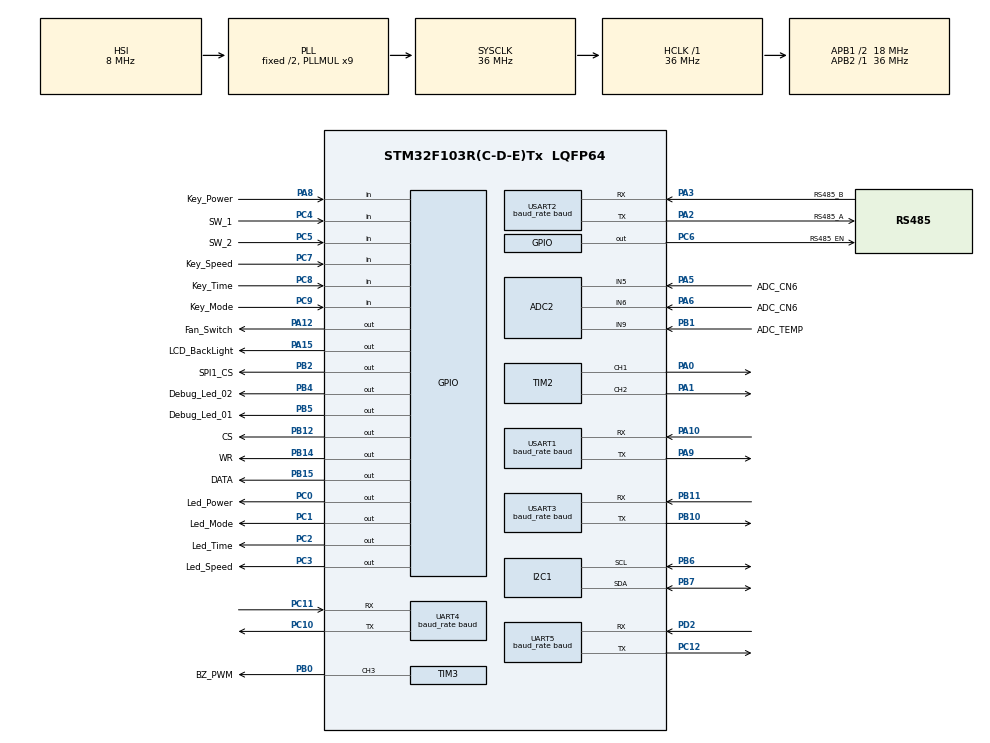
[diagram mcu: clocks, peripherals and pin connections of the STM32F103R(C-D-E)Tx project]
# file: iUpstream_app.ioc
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ADC2.Channel-1\#ChannelRegularConversion=ADC_CHANNEL_5
ADC2.NbrOfConversionFlag=1
ADC2.Rank-1\#ChannelRegularConversion=1
ADC2.SamplingTime-1\#ChannelRegularConversion=ADC_SAMPLETIME_1CYCLE_5
Dma.Request0=USART3_RX
Dma.Request1=UART4_RX
Dma.UART4_RX.1.Direction=DMA_PERIPH_TO_MEMORY
Dma.UART4_RX.1.Instance=DMA2_Channel3
Dma.UART4_RX.1.MemDataAlignment=DMA_MDATAALIGN_BYTE
Dma.UART4_RX.1.MemInc=DMA_MINC_ENABLE
Dma.UART4_RX.1.Mode=DMA_NORMAL
Dma.UART4_RX.1.PeriphDataAlignment=DMA_PDATAALIGN_BYTE
Dma.UART4_RX.1.PeriphInc=DMA_PINC_DISABLE
Dma.UART4_RX.1.Priority=DMA_PRIORITY_LOW
Dma.USART3_RX.0.Direction=DMA_PERIPH_TO_MEMORY
Dma.USART3_RX.0.Instance=DMA1_Channel3
Dma.USART3_RX.0.MemDataAlignment=DMA_MDATAALIGN_BYTE
Dma.USART3_RX.0.MemInc=DMA_MINC_ENABLE
Dma.USART3_RX.0.Mode=DMA_NORMAL
Dma.USART3_RX.0.PeriphDataAlignment=DMA_PDATAALIGN_BYTE
Dma.USART3_RX.0.PeriphInc=DMA_PINC_DISABLE
Dma.USART3_RX.0.Priority=DMA_PRIORITY_LOW
FREERTOS.Tasks01=Breath_Light_Ta,0,128,Breath_Light_Handler,Default,NULL,Dynamic,NULL,NULL;Rs485_Modbus_Ta,1,128,Rs485_Modbus_Handler,Default,NULL,Dynamic,NULL,NULL;Main_Task,-1,128,Main_Handler,Default,NULL,Dynamic,NULL,NULL;Key_Button_Task,-3,128,Key_Button_Handler,Default,NULL,Dynamic,NULL,NULL;Motor_Task,-3,128,Motor_Handler,Default,NULL,Dynamic,NULL,NULL;wifi_module,-3,128,wifi_module_Handler,Default,NULL,Dynamic,NULL,NULL
FREERTOS.configMAX_PRIORITIES=5
FREERTOS.configMINIMAL_STACK_SIZE=128
FREERTOS.configTOTAL_HEAP_SIZE=4096
FREERTOS.configUSE_TICK_HOOK=1
IWDG.Prescaler=IWDG_PRESCALER_16
Mcu.Family=STM32F1
Mcu.Name=STM32F103R(C-D-E)Tx
Mcu.Package=LQFP64
NVIC.DMA1_Channel3_IRQn=true\:5\:0\:false\:false\:true\:true\:false\:true\:true
NVIC.DMA2_Channel3_IRQn=true\:5\:0\:false\:false\:true\:true\:false\:true\:true
NVIC.PriorityGroup=NVIC_PRIORITYGROUP_4
NVIC.TIM1_UP_IRQn=true\:15\:0\:true\:false\:true\:false\:false\:true\:true
NVIC.TIM4_IRQn=true\:5\:0\:false\:false\:true\:true\:true\:true\:true
NVIC.TIM5_IRQn=true\:5\:0\:false\:false\:true\:true\:true\:true\:true
NVIC.TIM6_IRQn=true\:5\:0\:false\:false\:true\:true\:true\:true\:true
NVIC.TimeBase=TIM1_UP_IRQn
NVIC.TimeBaseIP=TIM1
NVIC.UART4_IRQn=true\:6\:0\:true\:false\:true\:true\:true\:true\:true
NVIC.UART5_IRQn=true\:5\:0\:true\:false\:true\:true\:true\:true\:true
NVIC.USART1_IRQn=true\:6\:0\:true\:false\:true\:false\:true\:true\:true
NVIC.USART2_IRQn=true\:5\:0\:false\:false\:true\:true\:true\:true\:true
NVIC.USART3_IRQn=true\:5\:0\:false\:false\:true\:true\:true\:true\:true
PA0-WKUP.Signal=S_TIM2_CH1_ETR
PA1.Signal=S_TIM2_CH2
PA10.GPIO_PuPd=GPIO_PULLDOWN
PA10.Mode=Asynchronous
PA10.Signal=USART1_RX
PA12.GPIO_Label=Fan_Switch
PA12.Signal=GPIO_Output
PA13.Mode=Trace_Asynchronous_SW
PA13.Signal=SYS_JTMS-SWDIO
PA14.Mode=Trace_Asynchronous_SW
PA14.Signal=SYS_JTCK-SWCLK
PA15.GPIO_Label=LCD_BackLight
PA15.Signal=GPIO_Output
PA2.GPIO_Label=RS485_A
PA2.GPIO_Speed=GPIO_SPEED_FREQ_LOW
PA2.Mode=Asynchronous
PA2.Signal=USART2_TX
PA3.GPIO_Label=RS485_B
PA3.GPIO_PuPd=GPIO_PULLDOWN
PA3.Mode=Asynchronous
PA3.Signal=USART2_RX
PA5.GPIO_Label=ADC_CN6
PA5.Signal=ADCx_IN5
PA6.GPIO_Label=ADC_CN6
PA6.Signal=ADCx_IN6
PA8.GPIO_Label=Key_Power
PA8.GPIO_PuPd=GPIO_PULLUP
PA8.Signal=GPIO_Input
PA9.GPIO_Speed=GPIO_SPEED_FREQ_LOW
PA9.Mode=Asynchronous
PA9.Signal=USART1_TX
PB0.GPIO_Label=BZ_PWM
PB0.Signal=S_TIM3_CH3
PB1.GPIO_Label=ADC_TEMP
PB1.Signal=ADCx_IN9
PB10.GPIO_Speed=GPIO_SPEED_FREQ_LOW
PB10.Mode=Asynchronous
PB10.Signal=USART3_TX
PB11.GPIO_PuPd=GPIO_PULLDOWN
PB11.Mode=Asynchronous
PB11.Signal=USART3_RX
PB12.GPIO_Label=CS
PB12.Signal=GPIO_Output
PB14.GPIO_Label=WR
PB14.Signal=GPIO_Output
PB15.GPIO_Label=DATA
PB15.Signal=GPIO_Output
PB2.GPIO_Label=SPI1_CS
PB2.Signal=GPIO_Output
PB3.Mode=Trace_Asynchronous_SW
PB3.Signal=SYS_JTDO-TRACESWO
PB4.GPIO_Label=Debug_Led_02
PB4.Signal=GPIO_Output
PB5.GPIO_Label=Debug_Led_01
PB5.Signal=GPIO_Output
PB6.Mode=I2C
PB6.Signal=I2C1_SCL
PB7.Mode=I2C
PB7.Signal=I2C1_SDA
PC0.GPIO_Label=Led_Power
PC0.Signal=GPIO_Output
PC1.GPIO_Label=Led_Mode
PC1.Signal=GPIO_Output
PC10.GPIO_Speed=GPIO_SPEED_FREQ_LOW
PC10.Mode=Asynchronous
PC10.Signal=UART4_TX
PC11.GPIO_PuPd=GPIO_PULLDOWN
PC11.Mode=Asynchronous
PC11.Signal=UART4_RX
PC12.GPIO_Speed=GPIO_SPEED_FREQ_LOW
PC12.Mode=Asynchronous
PC12.Signal=UART5_TX
PC14-OSC32_IN.Mode=LSE-External-Oscillator
PC14-OSC32_IN.Signal=RCC_OSC32_IN
PC15-OSC32_OUT.Mode=LSE-External-Oscillator
PC15-OSC32_OUT.Signal=RCC_OSC32_OUT
PC2.GPIO_Label=Led_Time
PC2.Signal=GPIO_Output
PC3.GPIO_Label=Led_Speed
PC3.Signal=GPIO_Output
PC4.GPIO_Label=SW_1
PC4.GPIO_PuPd=GPIO_PULLUP
PC4.Signal=GPIO_Input
PC5.GPIO_Label=SW_2
PC5.GPIO_PuPd=GPIO_PULLUP
PC5.Signal=GPIO_Input
PC6.GPIO_Label=RS485_EN
PC6.Signal=GPIO_Output
PC7.GPIO_Label=Key_Speed
PC7.GPIO_PuPd=GPIO_PULLUP
PC7.Signal=GPIO_Input
PC8.GPIO_Label=Key_Time
PC8.GPIO_PuPd=GPIO_PULLUP
PC8.Signal=GPIO_Input
PC9.GPIO_Label=Key_Mode
PC9.GPIO_PuPd=GPIO_PULLUP
PC9.Signal=GPIO_Input
PD0-OSC_IN.Mode=HSE-External-Oscillator
PD0-OSC_IN.Signal=RCC_OSC_IN
PD1-OSC_OUT.Mode=HSE-External-Oscillator
PD1-OSC_OUT.Signal=RCC_OSC_OUT
PD2.GPIO_PuPd=GPIO_PULLDOWN
PD2.Mode=Asynchronous
PD2.Signal=UART5_RX
ProjectManager.HeapSize=0x200
ProjectManager.StackSize=0x400
ProjectManager.TargetToolchain=MDK-ARM V5.27
RCC.ADCPresc=RCC_ADCPCLK2_DIV4
RCC.AHBFreq_Value=36000000
RCC.APB1CLKDivider=RCC_HCLK_DIV2
RCC.APB1Freq_Value=18000000
RCC.APB1TimFreq_Value=36000000
RCC.APB2Freq_Value=36000000
RCC.APB2TimFreq_Value=36000000
RCC.HCLKFreq_Value=36000000
RCC.PLLMUL=RCC_PLL_MUL9
RCC.SYSCLKFreq_VALUE=36000000
RCC.SYSCLKSource=RCC_SYSCLKSOURCE_PLLCLK
RCC.USBFreq_Value=36000000
SH.ADCx_IN5.0=ADC2_IN5,IN5
SH.ADCx_IN6.0=ADC2_IN6,IN6
SH.ADCx_IN9.0=ADC2_IN9,IN9
SH.S_TIM2_CH1_ETR.0=TIM2_CH1,PWM Generation1 CH1
SH.S_TIM2_CH2.0=TIM2_CH2,PWM Generation2 CH2
SH.S_TIM3_CH3.0=TIM3_CH3,PWM Generation3 CH3
TIM2.AutoReloadPreload=TIM_AUTORELOAD_PRELOAD_DISABLE
TIM2.Channel-PWM\ Generation1\ CH1=TIM_CHANNEL_1
TIM2.Channel-PWM\ Generation2\ CH2=TIM_CHANNEL_2
TIM2.OCPolarity_1=TIM_OCPOLARITY_LOW
TIM2.OCPolarity_2=TIM_OCPOLARITY_HIGH
TIM2.Period=Pwm1_Tim2_Period
TIM2.Prescaler=Pwm1_Tim2_Prescaler
TIM3.Channel-PWM\ Generation3\ CH3=TIM_CHANNEL_3
TIM3.Period=Pwm2_Tim3_Period
TIM3.Prescaler=Pwm2_Tim3_Prescaler
TIM4.AutoReloadPreload=TIM_AUTORELOAD_PRELOAD_ENABLE
TIM4.CounterMode=TIM_COUNTERMODE_UP
TIM4.Period=36-1
TIM4.Prescaler=3600-1
TIM4.TIM_MasterOutputTrigger=TIM_TRGO_RESET
TIM5.Period=1000-1
TIM5.Prescaler=3600-1
TIM6.Period=1000-1
TIM6.Prescaler=3600-1
TIM6.TIM_MasterOutputTrigger=TIM_TRGO_ENABLE
UART4.BaudRate=baud_rate
UART4.StopBits=UART_STOPBITS_1
UART4.VirtualMode=Asynchronous
UART4.WordLength=WORDLENGTH_8B
UART5.BaudRate=baud_rate
UART5.VirtualMode=Asynchronous
USART1.BaudRate=baud_rate
USART1.VirtualMode=VM_ASYNC
USART1.WordLength=WORDLENGTH_8B
USART2.BaudRate=baud_rate
USART2.VirtualMode=VM_ASYNC
USART3.BaudRate=baud_rate
USART3.VirtualMode=VM_ASYNC
VP_FREERTOS_VS_CMSIS_V1.Mode=CMSIS_V1
VP_IWDG_VS_IWDG.Mode=IWDG_Activate
VP_SYS_VS_tim1.Mode=TIM1
VP_TIM2_VS_ClockSourceINT.Mode=Internal
VP_TIM3_VS_ClockSourceINT.Mode=Internal
VP_TIM4_VS_ClockSourceINT.Mode=Internal
VP_TIM5_VS_ClockSourceINT.Mode=Internal
VP_TIM6_VS_ClockSourceINT.Mode=Enable_Timer
VP_TIM6_VS_OPM.Mode=OPM_bit
board=custom

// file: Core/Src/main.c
/* USER CODE BEGIN Header */
/**
  ******************************************************************************
  * @file           : main.c
  * @brief          : Main program body
  ******************************************************************************
  * @attention
  *
  * <h2><center>&copy; Copyright (c) 2021 STMicroelectronics.
  * All rights reserved.</center></h2>
  *
  * This software component is licensed by ST under BSD 3-Clause license,
  * the "License"; You may not use this file except in compliance with the
  * License. You may obtain a copy of the License at:
  *                        opensource.org/licenses/BSD-3-Clause
  *
  ******************************************************************************
  */
/* USER CODE END Header */
#include "main.h"
#include "cmsis_os.h"
#include "adc.h"
#include "dma.h"
#include "i2c.h"
#include "iwdg.h"
#include "tim.h"
#include "usart.h"
#include "gpio.h"

/* USER CODE BEGIN Includes */
#include "tm1621.h"
/* USER CODE END Includes */

/* USER CODE BEGIN PD */
extern void prvvTIMERExpiredISR( void );
/* USER CODE END PD */

void SystemClock_Config(void);
void MX_FREERTOS_Init(void);
/* USER CODE BEGIN PFP */

extern void Modbus_Buffer_Init(void);
extern void Dev_Information_Init(void);

/* USER CODE END PFP */

int main(void)
{
  /* USER CODE BEGIN 1 */
	SCB->VTOR = FLASH_BASE | 0x8000;
	__enable_irq();
	HAL_DeInit();

  /* USER CODE END 1 */

  /* MCU Configuration--------------------------------------------------------*/

  /* Reset of all peripherals, Initializes the Flash interface and the Systick. */
  HAL_Init();

  /* Configure the system clock */
  SystemClock_Config();

  /* USER CODE BEGIN SysInit */
	Modbus_Buffer_Init();
	Dev_Information_Init();

  /* USER CODE END SysInit */

  /* Initialize all configured peripherals */
  MX_GPIO_Init();
  MX_DMA_Init();
  MX_USART1_UART_Init();
  MX_TIM2_Init();
  MX_UART4_Init();
  MX_UART5_Init();
  MX_USART2_UART_Init();
  MX_USART3_UART_Init();
  MX_TIM5_Init();
  MX_TIM3_Init();
  MX_IWDG_Init();
  MX_I2C1_Init();
  MX_TIM4_Init();
  MX_ADC2_Init();
  MX_TIM6_Init();

  /* Call init function for freertos objects (in freertos.c) */
  MX_FREERTOS_Init();

  /* Start scheduler */
  osKernelStart();

  /* We should never get here as control is now taken by the scheduler */
  /* Infinite loop */
  /* USER CODE BEGIN WHILE */
	//StartUp_PWM1(50);
	//StartUp_PWM2(50);
  while (1)
  {
    /* USER CODE END WHILE */

    /* USER CODE BEGIN 3 */
//		HAL_WWDG_Refresh(&hwwdg);
  }
  /* USER CODE END 3 */
}

void SystemClock_Config(void)
{
  RCC_OscInitTypeDef RCC_OscInitStruct = {0};
  RCC_ClkInitTypeDef RCC_ClkInitStruct = {0};
  RCC_PeriphCLKInitTypeDef PeriphClkInit = {0};

  /** Initializes the RCC Oscillators according to the specified parameters
  * in the RCC_OscInitTypeDef structure.
  */
  RCC_OscInitStruct.OscillatorType = RCC_OSCILLATORTYPE_HSI|RCC_OSCILLATORTYPE_LSI;
  RCC_OscInitStruct.HSIState = RCC_HSI_ON;
  RCC_OscInitStruct.HSICalibrationValue = RCC_HSICALIBRATION_DEFAULT;
  RCC_OscInitStruct.LSIState = RCC_LSI_ON;
  RCC_OscInitStruct.PLL.PLLState = RCC_PLL_ON;
  RCC_OscInitStruct.PLL.PLLSource = RCC_PLLSOURCE_HSI_DIV2;
  RCC_OscInitStruct.PLL.PLLMUL = RCC_PLL_MUL9;
  if (HAL_RCC_OscConfig(&RCC_OscInitStruct) != HAL_OK)
  {
    Error_Handler();
  }

  /** Initializes the CPU, AHB and APB buses clocks
  */
  RCC_ClkInitStruct.ClockType = RCC_CLOCKTYPE_HCLK|RCC_CLOCKTYPE_SYSCLK
                              |RCC_CLOCKTYPE_PCLK1|RCC_CLOCKTYPE_PCLK2;
  RCC_ClkInitStruct.SYSCLKSource = RCC_SYSCLKSOURCE_PLLCLK;
  RCC_ClkInitStruct.AHBCLKDivider = RCC_SYSCLK_DIV1;
  RCC_ClkInitStruct.APB1CLKDivider = RCC_HCLK_DIV2;
  RCC_ClkInitStruct.APB2CLKDivider = RCC_HCLK_DIV1;

  if (HAL_RCC_ClockConfig(&RCC_ClkInitStruct, FLASH_LATENCY_1) != HAL_OK)
  {
    Error_Handler();
  }
  PeriphClkInit.PeriphClockSelection = RCC_PERIPHCLK_ADC;
  PeriphClkInit.AdcClockSelection = RCC_ADCPCLK2_DIV4;
  if (HAL_RCCEx_PeriphCLKConfig(&PeriphClkInit) != HAL_OK)
  {
    Error_Handler();
  }
}

void HAL_TIM_PeriodElapsedCallback(TIM_HandleTypeDef *htim)
{
  if (htim->Instance == TIM1) {
    HAL_IncTick();
  }
  /* USER CODE BEGIN Callback 1 */
	if (htim->Instance == TIM4) {
    prvvTIMERExpiredISR();
  }
	if (htim->Instance == TIM6) {
		TM1621_Buzzer_Off();
		HAL_TIM_Base_Stop_IT(&htim6);
  }
  /* USER CODE END Callback 1 */
}

void Error_Handler(void)
{
  __disable_irq();
  while (1)
  {
  }
}

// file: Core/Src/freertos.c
/* USER CODE BEGIN Header */
/**
  ******************************************************************************
  * File Name          : freertos.c
  * Description        : Code for freertos applications
  ******************************************************************************
  * @attention
  *
  * Copyright (c) 2023 STMicroelectronics.
  * All rights reserved.
  *
  * This software is licensed under terms that can be found in the LICENSE file
  * in the root directory of this software component.
  * If no LICENSE file comes with this software, it is provided AS-IS.
  *
  ******************************************************************************
  */
/* USER CODE END Header */

#include "FreeRTOS.h"
#include "task.h"
#include "main.h"
#include "cmsis_os.h"

/* USER CODE BEGIN Includes */
#include "iap.h"
#include "iwdg.h"
#include "gpio.h"
#include "pump.h"
#include "dev.h"
#include "modbus.h"
#include "subsystem.h"
#include "display.h"
#include "Breath_light.h"
#include "timing.h"
#include "key.h"
#include "motor.h"
#include "debug_protocol.h"	///////////////////////	串口调试

#include "macro_definition.h"				// 统一宏定义
#include "wifi_thread.h"				// wifi模组
#include "mcu_api.h"						// wifi模组
/* USER CODE END Includes */

osThreadId Breath_Light_TaHandle;
osThreadId Rs485_Modbus_TaHandle;
osThreadId Main_TaskHandle;
osThreadId Key_Button_TaskHandle;
osThreadId Motor_TaskHandle;
osThreadId wifi_moduleHandle;

void Breath_Light_Handler(void const * argument);
void Rs485_Modbus_Handler(void const * argument);
void Main_Handler(void const * argument);
void Key_Button_Handler(void const * argument);
void Motor_Handler(void const * argument);
void wifi_module_Handler(void const * argument);

void MX_FREERTOS_Init(void); /* (MISRA C 2004 rule 8.1) */

/* GetIdleTaskMemory prototype (linked to static allocation support) */
void vApplicationGetIdleTaskMemory( StaticTask_t **ppxIdleTaskTCBBuffer, StackType_t **ppxIdleTaskStackBuffer, uint32_t *pulIdleTaskStackSize );

/* Hook prototypes */
void vApplicationTickHook(void);

/* USER CODE BEGIN 3 */
__weak void vApplicationTickHook( void )
{
   /* This function will be called by each tick interrupt if
   configUSE_TICK_HOOK is set to 1 in FreeRTOSConfig.h. User code can be
   added here, but the tick hook is called from an interrupt context, so
   code must not attempt to block, and only the interrupt safe FreeRTOS API
   functions can be used (those that end in FromISR()). */
}
/* USER CODE END 3 */

/* USER CODE BEGIN GET_IDLE_TASK_MEMORY */
static StaticTask_t xIdleTaskTCBBuffer;
static StackType_t xIdleStack[configMINIMAL_STACK_SIZE];

void vApplicationGetIdleTaskMemory( StaticTask_t **ppxIdleTaskTCBBuffer, StackType_t **ppxIdleTaskStackBuffer, uint32_t *pulIdleTaskStackSize )
{
  *ppxIdleTaskTCBBuffer = &xIdleTaskTCBBuffer;
  *ppxIdleTaskStackBuffer = &xIdleStack[0];
  *pulIdleTaskStackSize = configMINIMAL_STACK_SIZE;
  /* place for user code */
}
/* USER CODE END GET_IDLE_TASK_MEMORY */

void MX_FREERTOS_Init(void) {

  /* Create the thread(s) */
  /* definition and creation of Breath_Light_Ta */
  osThreadDef(Breath_Light_Ta, Breath_Light_Handler, osPriorityNormal, 0, 128);
  Breath_Light_TaHandle = osThreadCreate(osThread(Breath_Light_Ta), NULL);

  /* definition and creation of Rs485_Modbus_Ta */
  osThreadDef(Rs485_Modbus_Ta, Rs485_Modbus_Handler, osPriorityAboveNormal, 0, 128);
  Rs485_Modbus_TaHandle = osThreadCreate(osThread(Rs485_Modbus_Ta), NULL);

  /* definition and creation of Main_Task */
  osThreadDef(Main_Task, Main_Handler, osPriorityRealtime, 0, 128);
  Main_TaskHandle = osThreadCreate(osThread(Main_Task), NULL);

  /* definition and creation of Key_Button_Task */
  osThreadDef(Key_Button_Task, Key_Button_Handler, osPriorityIdle, 0, 128);
  Key_Button_TaskHandle = osThreadCreate(osThread(Key_Button_Task), NULL);

  /* definition and creation of Motor_Task */
  osThreadDef(Motor_Task, Motor_Handler, osPriorityIdle, 0, 256);
  Motor_TaskHandle = osThreadCreate(osThread(Motor_Task), NULL);

  /* definition and creation of wifi_module */
  osThreadDef(wifi_module, wifi_module_Handler, osPriorityHigh, 0, 640);
  wifi_moduleHandle = osThreadCreate(osThread(wifi_module), NULL);

}

void Breath_Light_Handler(void const * argument)
{
  /* USER CODE BEGIN Breath_Light_Handler */

	App_Breath_light_Init();
  /* Infinite loop */
  while(1)
  {
		HAL_IWDG_Refresh(&hiwdg);

		App_Breath_light_Handler();

		osDelay(THREAD_PERIOD_BREATH_LIGHT_TASK);
  }
  /* USER CODE END Breath_Light_Handler */
}

void Rs485_Modbus_Handler(void const * argument)
{
  /* USER CODE BEGIN Rs485_Modbus_Handler */
	Modbus_Init();
	App_Data_Init();
	BT_Modbus_Config_Init();
	osDelay(2000);
	BT_Module_AT_Init();
  /* Infinite loop */
  while(1)
  {
		HAL_IWDG_Refresh(&hiwdg);

		BT_MsTimeout();

		Modbus_Handle_Task();

		BT_Read_Handler();

		osDelay(THREAD_PERIOD_RS485_MODBUS_TASK);
  }
  /* USER CODE END Rs485_Modbus_Handler */
}

void Main_Handler(void const * argument)
{
  /* USER CODE BEGIN Main_Handler */

	Set_Software_Version();
	App_Timing_Init();
	osDelay(POWER_ON_WAITE_TIME_TASK);
  /* Infinite loop */
  while(1)
  {
		HAL_IWDG_Refresh(&hiwdg);

		App_Timing_Handler();

		osDelay(THREAD_PERIOD_MAIN_TASK);
  }

  /* USER CODE END Main_Handler */
}

void Key_Button_Handler(void const * argument)
{
  /* USER CODE BEGIN Key_Button_Handler */
	App_Key_Init();

  /* Infinite loop */
  while(1)
  {
		HAL_IWDG_Refresh(&hiwdg);

		App_Key_Handler();

		osDelay(THREAD_PERIOD_KEY_BUTTON_TASK);
  }
  /* USER CODE END Key_Button_Handler */
}

void Motor_Handler(void const * argument)
{
  /* USER CODE BEGIN Motor_Handler */
	Metering_Receive_Init();
	Debug_Protocol_Init();
	//osDelay(POWER_ON_WAITE_TIME_TASK);
  /* Infinite loop */
  for(;;)
  {
		App_Motor_Handler();
    osDelay(THREAD_PERIOD_MOTOR_TASK);
  }
  /* USER CODE END Motor_Handler */
}

void wifi_module_Handler(void const * argument)
{
  /* USER CODE BEGIN wifi_module_Handler */
	wifi_Module_Init();
  /* Infinite loop */
  for(;;)
  {
		Wifi_Module_Handler();
		HAL_IWDG_Refresh(&hiwdg);
    osDelay(THREAD_PERIOD_WIFI_TASK);
  }
  /* USER CODE END wifi_module_Handler */
}
